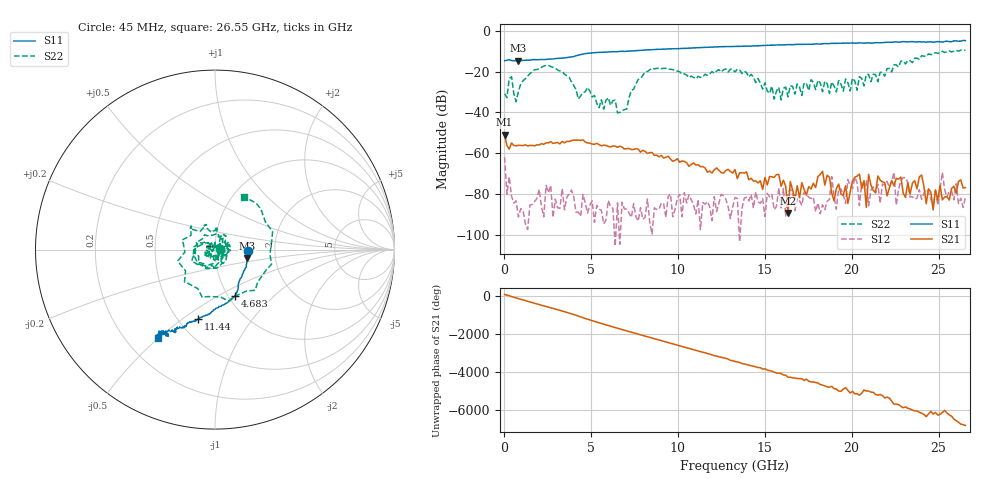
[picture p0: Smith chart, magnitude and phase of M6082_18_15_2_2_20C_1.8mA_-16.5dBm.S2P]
!  2-Port S-parameters saved by WinCal
! VAR MeasName=S-Parameters (CALIBRATED_DATA) read from VNA (C)
! VAR MeasDate=9/29/2015 2:53:14 PM
! VAR NAME=M6082_18_15_2_2_20C_1.8mA_-16.5dBm
! VAR FILENAME=M6082_18_15_2_2_20C_1.8mA_-16.5dBm.S2P
! VAR DATE=9/29/2015 2:53:14 PM
! VAR PHYS_PORTS=2,1
! VAR ObjTypeName=DATASET
! VAR IndexType=Frequency
# Hz S RI R 50
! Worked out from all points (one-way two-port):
!   201 points, 45 MHz to 26.55 GHz, reference 50 ohm
!   highest |S21| = -50.85 dB at 45 MHz (marker M1); lowest = -89.4 dB at 16.34 GHz (marker M2)
!   lowest |S11| = -14.6 dB at 840 MHz (marker M3), VSWR 1.46, Z = 71.5 - j7.18 ohm
!   |S11| at or under -10 dB: start of sweep to 6.64 GHz
!   |S22| runs from -40.2 to -9.2 dB; largest |S21 - S12| = 0.003
!   S11 on the Smith chart (normalised r, x): 45 MHz: 1.46, -0.02; 4.683 GHz: 1.08, -0.60; 11.44 GHz: 0.63, -0.57; 26.55 GHz: 0.33, -0.50
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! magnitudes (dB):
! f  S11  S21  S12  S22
! 45 MHz  -14.6  -50.9  -62.0  -30.8
! 177.5 MHz  -14.3  -56.2  -80.2  -32.7
! 310 MHz  -14.1  -58.0  -71.6  -23.3
! 442.5 MHz  -14.4  -55.0  -81.2  -22.4
! 840 MHz  -14.6  -56.1  -91.3  -29.6
! 2.562 GHz  -13.8  -54.9  -79.3  -16.8
! 4.55 GHz  -11.3  -53.4  -80.3  -30.3
! 4.683 GHz  -11.0  -54.5  -84.5  -29.8
! 6.67 GHz  -10.0  -56.5  -104.8  -40.0
! 8.922 GHz  -9.0  -61.8  -87.6  -18.0
! 11.44 GHz  -8.0  -66.6  -84.2  -22.6
! 13.29 GHz  -7.5  -68.0  -81.8  -20.1
! 16.34 GHz  -6.6  -89.4  -79.7  -32.3
! 17.8 GHz  -6.4  -74.8  -81.7  -25.2
! 22.17 GHz  -5.5  -77.1  -76.8  -18.4
! 22.44 GHz  -5.4  -76.0  -69.4  -16.6
! 22.57 GHz  -5.3  -72.4  -85.5  -16.6
! 24.03 GHz  -5.3  -70.7  -82.7  -12.1
! 24.95 GHz  -5.1  -83.2  -85.5  -11.0
! 25.22 GHz  -5.4  -82.9  -69.5  -9.9
! 25.48 GHz  -4.9  -81.4  -81.5  -10.3
! 26.55 GHz  -4.7  -77.0  -81.8  -9.5
